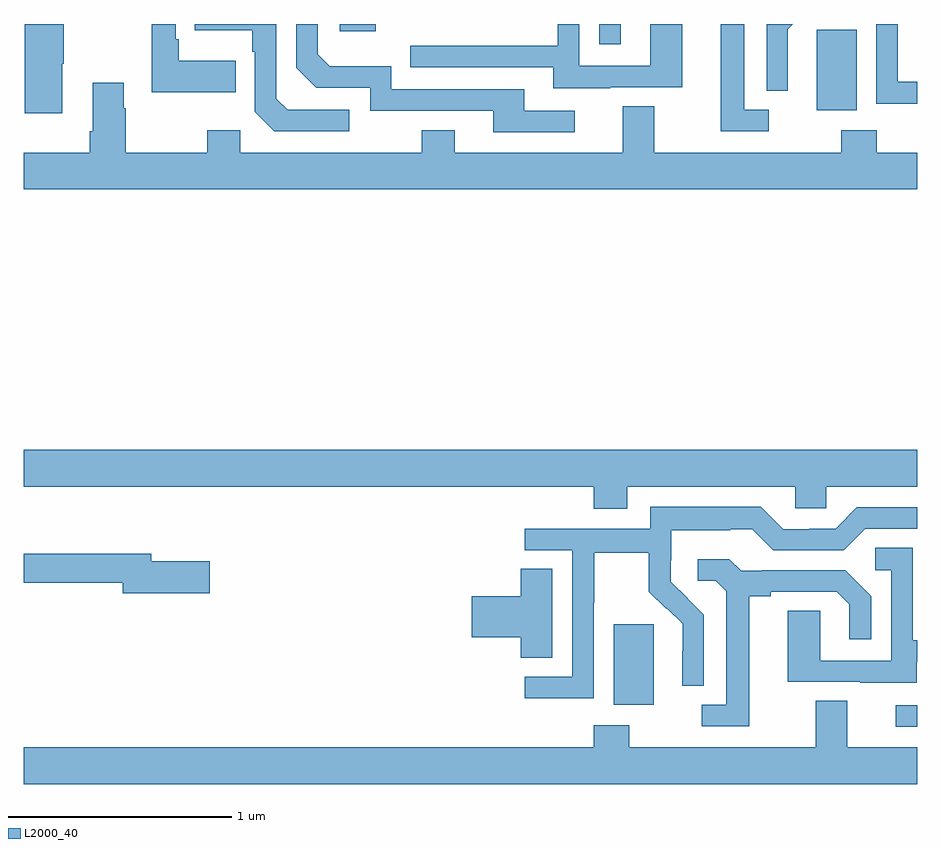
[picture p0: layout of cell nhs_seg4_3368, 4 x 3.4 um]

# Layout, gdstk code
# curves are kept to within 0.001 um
import gdstk
lib = gdstk.Library(unit=1e-6, precision=1e-09)
def R(c, l, rs):  # rectangles x0, y0, x1, y1
    for r in rs: c.add(gdstk.rectangle(r[:2], r[2:], *l))
def P(c, l, *ps):  # polygons
    for p in ps: c.add(gdstk.Polygon(p, *l))
L2000_40 = (2000, 40)

nhs_seg4_3368 = lib.new_cell('nhs_seg4_3368')
R(nhs_seg4_3368, L2000_40, [(292.905,787.752,293,787.848), (291.641,787.85,291.82,788.211), (292.55,790.514,292.729,790.875), (291.576,790.809,291.673,790.9), (290.415,790.868,290.576,790.9)])
P(nhs_seg4_3368, L2000_40, [(292.422,790.754),(292.421,790.754),(292.421,790.877),(292.444,790.9),(292.326,790.9),(292.326,790.6),(292.422,790.6)],
  [(293,790.641),(292.914,790.641),(292.914,790.9),(292.818,790.9),(292.818,790.543),(293,790.543)],
  [(290.458,790.515),(290.181,790.515),(290.13,790.566),(290.13,790.9),(289.765,790.9),(289.765,790.871),(290.022,790.871),(290.022,790.775),(290.034,790.775),(290.034,790.506),(290.121,790.419),(290.458,790.419)],
  [(291.466,790.512),(291.241,790.512),(291.241,790.608),(290.646,790.608),(290.646,790.711),(290.369,790.711),(290.316,790.764),(290.316,790.9),(290.22,790.9),(290.22,790.704),(290.31,790.614),(290.55,790.614),(290.55,790.512),(291.101,790.512),(291.101,790.416),(291.466,790.416)],
  [(289.949,790.735),(289.693,790.735),(289.693,790.831),(289.68,790.831),(289.68,790.9),(289.572,790.9),(289.572,790.595),(289.949,790.595)],
  [(291.625,790.617),(291.949,790.617),(291.949,790.9),(291.804,790.9),(291.804,790.713),(291.486,790.713),(291.486,790.9),(291.39,790.9),(291.39,790.803),(290.731,790.803),(290.731,790.707),(291.371,790.707),(291.371,790.613),(291.625,790.613)],
  [(289.171,790.723),(289.179,790.723),(289.179,790.9),(289.004,790.9),(289.004,790.5),(289.171,790.5)],
  [(292.336,790.515),(292.225,790.515),(292.225,790.9),(292.121,790.9),(292.121,790.419),(292.336,790.419)],
  [(293,790.324),(292.82,790.324),(292.82,790.423),(292.66,790.423),(292.66,790.324),(291.823,790.324),(291.823,790.532),(291.683,790.532),(291.683,790.324),(290.929,790.324),(290.929,790.423),(290.782,790.423),(290.782,790.324),(289.968,790.324),(289.968,790.423),(289.822,790.423),(289.822,790.324),(289.455,790.324),(289.455,790.523),(289.447,790.523),(289.447,790.636),(289.307,790.636),(289.307,790.42),(289.295,790.42),(289.295,790.324),(289,790.324),(289,790.16),(293,790.16)],
  [(291.703,788.828),(292.455,788.828),(292.455,788.73),(292.593,788.73),(292.593,788.828),(293,788.828),(293,788.992),(289,788.992),(289,788.828),(291.551,788.828),(291.551,788.729),(291.703,788.729)],
  [(291.552,788.308),(291.555,788.308),(291.555,788.532),(291.799,788.532),(291.799,788.357),(291.876,788.28),(291.879,788.283),(291.95,788.213),(291.95,788.09),(291.948,788.09),(291.948,787.936),(292.044,787.936),(292.044,788.254),(291.898,788.402),(291.898,788.499),(291.9,788.499),(291.9,788.633),(292.163,788.633),(292.163,788.637),(292.263,788.637),(292.356,788.544),(292.671,788.544),(292.767,788.64),(293,788.64),(293,788.736),(292.731,788.736),(292.635,788.64),(292.517,788.64),(292.517,788.637),(292.401,788.637),(292.301,788.737),(291.804,788.737),(291.804,788.64),(291.243,788.64),(291.243,788.544),(291.456,788.544),(291.456,787.977),(291.243,787.977),(291.243,787.879),(291.552,787.879)],
  [(292.999,788.043),(293,788.043),(293,788.139),(292.98,788.139),(292.98,788.555),(292.812,788.555),(292.812,788.454),(292.884,788.454),(292.884,788.049),(292.566,788.049),(292.566,788.273),(292.421,788.273),(292.421,787.953),(292.745,787.953),(292.745,787.949),(292.999,787.949)],
  [(289.831,788.493),(289.57,788.493),(289.57,788.527),(289,788.527),(289,788.398),(289.442,788.398),(289.442,788.351),(289.831,788.351)],
  [(292.249,788.336),(292.345,788.336),(292.345,788.358),(292.64,788.358),(292.697,788.301),(292.697,788.145),(292.794,788.145),(292.794,788.338),(292.678,788.454),(292.306,788.454),(292.306,788.451),(292.212,788.451),(292.16,788.503),(292.017,788.503),(292.017,788.406),(292.098,788.406),(292.145,788.359),(292.145,787.851),(292.035,787.851),(292.035,787.755),(292.249,787.755)],
  [(291.367,788.459),(291.224,788.459),(291.224,788.336),(291.006,788.336),(291.006,788.153),(291.224,788.153),(291.224,788.062),(291.367,788.062)],
  [(293,787.66),(292.687,787.66),(292.687,787.868),(292.547,787.868),(292.547,787.66),(291.711,787.66),(291.711,787.759),(291.551,787.759),(291.551,787.66),(289,787.66),(289,787.496),(293,787.496)])

lib.write_gds('nhs_seg4_3368.gds')
